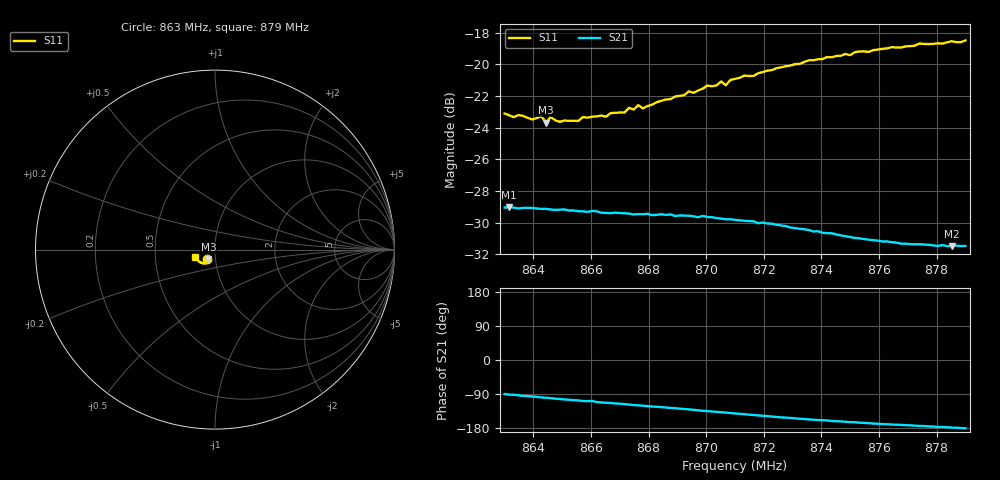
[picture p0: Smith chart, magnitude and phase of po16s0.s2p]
# HZ S RI R 50
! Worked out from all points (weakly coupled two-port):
!   101 points, 863 MHz to 879 MHz, reference 50 ohm
!   highest |S21| = -29.04 dB at 863.16 MHz (marker M1); lowest = -31.5 dB at 878.52 MHz (marker M2)
!   lowest |S11| = -23.7 dB at 864.44 MHz (marker M3), VSWR 1.14, Z = 46.2 - j5.03 ohm
!   |S11| at or under -10 dB: start of sweep to end of sweep
!   S12 and S22 are empty: the file has one direction only
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8.63e8  -0.0437 -0.0546  0.000147 -0.0353  0 0  0 0
8.6316e8  -0.0426 -0.0544  -0.000901 -0.0353  0 0  0 0
8.6396e8  -0.0394 -0.0542  -0.00391 -0.035  0 0  0 0
8.6428e8  -0.0382 -0.0568  -0.00531 -0.0345  0 0  0 0
8.6444e8  -0.0368 -0.0542  -0.00585 -0.0344  0 0  0 0
8.646e8  -0.0387 -0.0562  -0.00646 -0.0342  0 0  0 0
8.6492e8  -0.036 -0.0551  -0.00778 -0.0339  0 0  0 0
8.6556e8  -0.0347 -0.0564  -0.0099 -0.0329  0 0  0 0
8.6572e8  -0.0344 -0.0588  -0.0107 -0.0326  0 0  0 0
8.6652e8  -0.0328 -0.0599  -0.0131 -0.0313  0 0  0 0
8.6732e8  -0.0345 -0.0642  -0.0156 -0.03  0 0  0 0
8.678e8  -0.0343 -0.064  -0.0171 -0.0289  0 0  0 0
8.6844e8  -0.0357 -0.0679  -0.0189 -0.0277  0 0  0 0
8.694e8  -0.0402 -0.0717  -0.0215 -0.0253  0 0  0 0
8.6956e8  -0.041 -0.0702  -0.0219 -0.0248  0 0  0 0
8.7052e8  -0.046 -0.0755  -0.0241 -0.0218  0 0  0 0
8.7068e8  -0.0454 -0.0729  -0.0243 -0.0214  0 0  0 0
8.71e8  -0.0482 -0.076  -0.0251 -0.0203  0 0  0 0
8.7372e8  -0.0698 -0.0758  -0.0274 -0.0113  0 0  0 0
8.7644e8  -0.0952 -0.0615  -0.027 -0.0046  0 0  0 0
8.7852e8  -0.1095 -0.0448  -0.0266 -0.000772  0 0  0 0
8.79e8  -0.1127 -0.0385  -0.0267 -2.7e-05  0 0  0 0
